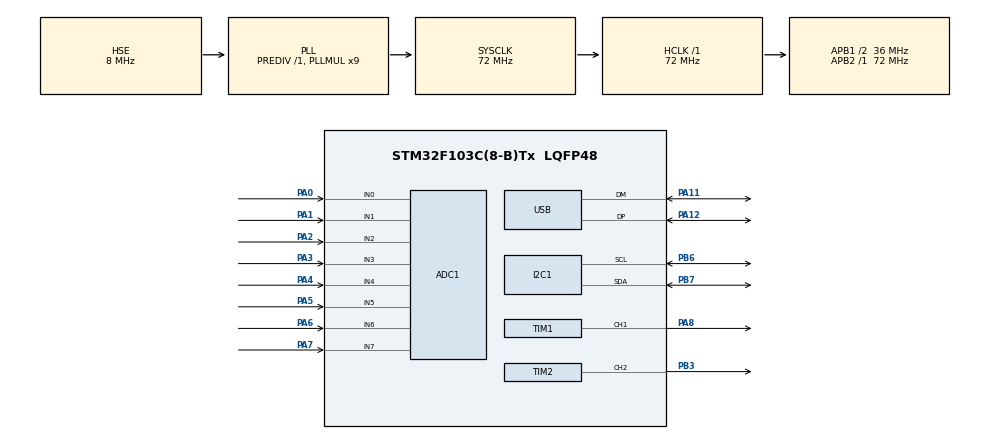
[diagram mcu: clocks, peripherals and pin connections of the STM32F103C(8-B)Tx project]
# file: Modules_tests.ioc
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ADC1.Channel-10\#ChannelRegularConversion=ADC_CHANNEL_0
ADC1.Channel-11\#ChannelRegularConversion=ADC_CHANNEL_0
ADC1.Channel-4\#ChannelRegularConversion=ADC_CHANNEL_0
ADC1.Channel-5\#ChannelRegularConversion=ADC_CHANNEL_0
ADC1.Channel-6\#ChannelRegularConversion=ADC_CHANNEL_0
ADC1.Channel-7\#ChannelRegularConversion=ADC_CHANNEL_0
ADC1.Channel-8\#ChannelRegularConversion=ADC_CHANNEL_0
ADC1.Channel-9\#ChannelRegularConversion=ADC_CHANNEL_0
ADC1.NbrOfConversion=8
ADC1.NbrOfConversionFlag=1
ADC1.Rank-10\#ChannelRegularConversion=7
ADC1.Rank-11\#ChannelRegularConversion=8
ADC1.Rank-4\#ChannelRegularConversion=1
ADC1.Rank-5\#ChannelRegularConversion=2
ADC1.Rank-6\#ChannelRegularConversion=3
ADC1.Rank-7\#ChannelRegularConversion=4
ADC1.Rank-8\#ChannelRegularConversion=5
ADC1.Rank-9\#ChannelRegularConversion=6
ADC1.SamplingTime-10\#ChannelRegularConversion=ADC_SAMPLETIME_1CYCLE_5
ADC1.SamplingTime-11\#ChannelRegularConversion=ADC_SAMPLETIME_1CYCLE_5
ADC1.SamplingTime-4\#ChannelRegularConversion=ADC_SAMPLETIME_1CYCLE_5
ADC1.SamplingTime-5\#ChannelRegularConversion=ADC_SAMPLETIME_1CYCLE_5
ADC1.SamplingTime-6\#ChannelRegularConversion=ADC_SAMPLETIME_1CYCLE_5
ADC1.SamplingTime-7\#ChannelRegularConversion=ADC_SAMPLETIME_1CYCLE_5
ADC1.SamplingTime-8\#ChannelRegularConversion=ADC_SAMPLETIME_1CYCLE_5
ADC1.SamplingTime-9\#ChannelRegularConversion=ADC_SAMPLETIME_1CYCLE_5
ADC1.master=1
Dma.ADC1.1.Direction=DMA_PERIPH_TO_MEMORY
Dma.ADC1.1.Instance=DMA1_Channel1
Dma.ADC1.1.MemDataAlignment=DMA_MDATAALIGN_HALFWORD
Dma.ADC1.1.MemInc=DMA_MINC_ENABLE
Dma.ADC1.1.Mode=DMA_NORMAL
Dma.ADC1.1.PeriphDataAlignment=DMA_PDATAALIGN_HALFWORD
Dma.ADC1.1.PeriphInc=DMA_PINC_DISABLE
Dma.ADC1.1.Priority=DMA_PRIORITY_LOW
Dma.I2C1_TX.0.Direction=DMA_MEMORY_TO_PERIPH
Dma.I2C1_TX.0.Instance=DMA1_Channel6
Dma.I2C1_TX.0.MemDataAlignment=DMA_MDATAALIGN_BYTE
Dma.I2C1_TX.0.MemInc=DMA_MINC_ENABLE
Dma.I2C1_TX.0.Mode=DMA_NORMAL
Dma.I2C1_TX.0.PeriphDataAlignment=DMA_PDATAALIGN_BYTE
Dma.I2C1_TX.0.PeriphInc=DMA_PINC_DISABLE
Dma.I2C1_TX.0.Priority=DMA_PRIORITY_LOW
Dma.Request0=I2C1_TX
Dma.Request1=ADC1
I2C1.I2C_Mode=I2C_Fast
I2C1.NoStretchMode=I2C_NOSTRETCH_DISABLE
Mcu.Family=STM32F1
Mcu.Name=STM32F103C(8-B)Tx
Mcu.Package=LQFP48
NVIC.DMA1_Channel1_IRQn=true\:0\:0\:false\:false\:true\:false\:true\:true
NVIC.DMA1_Channel6_IRQn=true\:0\:0\:false\:false\:true\:false\:true\:true
NVIC.I2C1_EV_IRQn=true\:0\:0\:false\:false\:true\:true\:true\:true
NVIC.PriorityGroup=NVIC_PRIORITYGROUP_4
NVIC.USB_LP_CAN1_RX0_IRQn=true\:0\:0\:false\:false\:true\:true\:true\:true
PA0-WKUP.Signal=ADCx_IN0
PA1.Signal=ADCx_IN1
PA11.Mode=Device
PA11.Signal=USB_DM
PA12.Mode=Device
PA12.Signal=USB_DP
PA2.Signal=ADCx_IN2
PA3.Signal=ADCx_IN3
PA4.Signal=ADCx_IN4
PA5.Signal=ADCx_IN5
PA6.Signal=ADCx_IN6
PA7.Signal=ADCx_IN7
PA8.Signal=S_TIM1_CH1
PB3.Signal=S_TIM2_CH2
PB6.Mode=I2C
PB6.Signal=I2C1_SCL
PB7.Mode=I2C
PB7.Signal=I2C1_SDA
PC14-OSC32_IN.Mode=LSE-External-Oscillator
PC14-OSC32_IN.Signal=RCC_OSC32_IN
PC15-OSC32_OUT.Mode=LSE-External-Oscillator
PC15-OSC32_OUT.Signal=RCC_OSC32_OUT
PD0-OSC_IN.Mode=HSE-External-Oscillator
PD0-OSC_IN.Signal=RCC_OSC_IN
PD1-OSC_OUT.Mode=HSE-External-Oscillator
PD1-OSC_OUT.Signal=RCC_OSC_OUT
ProjectManager.HeapSize=0x200
ProjectManager.StackSize=0x400
ProjectManager.TargetToolchain=STM32CubeIDE
RCC.ADCPresc=RCC_ADCPCLK2_DIV6
RCC.AHBFreq_Value=72000000
RCC.APB1CLKDivider=RCC_HCLK_DIV2
RCC.APB1Freq_Value=36000000
RCC.APB1TimFreq_Value=72000000
RCC.APB2Freq_Value=72000000
RCC.APB2TimFreq_Value=72000000
RCC.HCLKFreq_Value=72000000
RCC.PLLMUL=RCC_PLL_MUL9
RCC.SYSCLKFreq_VALUE=72000000
RCC.SYSCLKSource=RCC_SYSCLKSOURCE_PLLCLK
RCC.USBFreq_Value=48000000
RCC.USBPrescaler=RCC_USBCLKSOURCE_PLL_DIV1_5
SH.ADCx_IN0.0=ADC1_IN0,IN0
SH.ADCx_IN1.0=ADC1_IN1,IN1
SH.ADCx_IN2.0=ADC1_IN2,IN2
SH.ADCx_IN3.0=ADC1_IN3,IN3
SH.ADCx_IN4.0=ADC1_IN4,IN4
SH.ADCx_IN5.0=ADC1_IN5,IN5
SH.ADCx_IN6.0=ADC1_IN6,IN6
SH.ADCx_IN7.0=ADC1_IN7,IN7
SH.S_TIM1_CH1.0=TIM1_CH1,PWM Generation1 CH1
SH.S_TIM2_CH2.0=TIM2_CH2,PWM Generation2 CH2
TIM1.Channel-PWM\ Generation1\ CH1=TIM_CHANNEL_1
TIM1.Period=100-1
TIM1.Prescaler=72-1
TIM2.Channel-PWM\ Generation2\ CH2=TIM_CHANNEL_2
TIM2.Period=100-1
TIM2.Prescaler=72-1
USB_DEVICE.CLASS_NAME_FS=CDC
USB_DEVICE.VirtualMode=Cdc
USB_DEVICE.VirtualModeFS=Cdc_FS
VP_SYS_VS_ND.Mode=No_Debug
VP_TIM1_VS_ClockSourceINT.Mode=Internal
VP_TIM2_VS_ClockSourceINT.Mode=Internal
VP_USB_DEVICE_VS_USB_DEVICE_CDC_FS.Mode=CDC_FS
board=custom

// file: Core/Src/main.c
/* USER CODE BEGIN Header */
/**
  ******************************************************************************
  * @file           : main.c
  * @brief          : Main program body
  ******************************************************************************
  * @attention
  *
  * Copyright (c) 2025 STMicroelectronics.
  * All rights reserved.
  *
  * When I programmed this only god and I know what we were doing. Probably,
  * when you read it, Only god knows what this made
  *
  * This software is licensed under terms that can be found in the LICENSE file
  * in the root directory of this software component.
  * If no LICENSE file comes with this software, it is provided AS-IS.
  *
  ******************************************************************************
  */
/* USER CODE END Header */
#include "main.h"
#include "usb_device.h"

/* USER CODE BEGIN Includes */
#include <stdlib.h>
#include "comm_pro.h"
#include "mpu6050.h"
#include "usbd_cdc_if.h"
#include "oled.h"
#include "oled_fonts.h"
/* USER CODE END Includes */

ADC_HandleTypeDef hadc1;
DMA_HandleTypeDef hdma_adc1;

I2C_HandleTypeDef hi2c1;
DMA_HandleTypeDef hdma_i2c1_tx;

TIM_HandleTypeDef htim1;
TIM_HandleTypeDef htim2;

/* USER CODE BEGIN PV */
/*Protocol variables*/
uint8_t 					bufRx[SIZEBUFRX];
uint8_t 					bufTx[SIZEBUFTX];
_sRx 						rx;
_sTx 						tx;

/*Motors variables*/
int8_t						leftMotorSpeed;
int8_t						rightMotorSpeed;

/*I2C oled variables*/
extern volatile uint8_t 	ssd_update_done;
volatile uint8_t 			i2c1_tx_busy = 0;
uint32_t 					lastUpdateTick = 0;

/*Optical Sensors variables*/
#define 					NUM_SENSORES 8

uint16_t 					adc_valores[NUM_SENSORES];
volatile uint8_t 			sensores_listos = 0;

/* USER CODE END PV */

void SystemClock_Config(void);
static void MX_GPIO_Init(void);
static void MX_DMA_Init(void);
static void MX_I2C1_Init(void);
static void MX_TIM1_Init(void);
static void MX_TIM2_Init(void);
static void MX_ADC1_Init(void);
/* USER CODE BEGIN PFP */
void sendByteOverUSB(uint8_t *byte);

void Motor_Set(int motor, int8_t speed);

void Oled_Init();

void oled_hal_write(uint8_t addr, uint8_t ctrl, uint8_t* data, uint16_t len);

int oled_hal_write_single(uint8_t addr, uint8_t ctrl, uint8_t data);

void oled_hal_write_comm(uint8_t addr, uint8_t data);

int oled_hal_init_i2c(uint8_t address);

void MPU_hal_write(uint8_t address, uint8_t control, uint8_t data);
void MPU_hal_read();

/* USER CODE END PFP */

/* USER CODE BEGIN 0 */
#include "main.h"

void MPU_hal_write(uint8_t address, uint8_t control, uint8_t data){

	HAL_I2C_Mem_Write(&hi2c1, address, control, 1, &data, 1, HAL_MAX_DELAY);
}

void MPU_hal_read(){
	uint8_t received_data[6];

	 HAL_I2C_Mem_Read_DMA(&hi2c1, MPU6050_ADDR, ACCEL_XOUT_H_REG, 1, received_data, 6);
}

int oled_hal_init_i2c(uint8_t address){
	uint8_t ret = 1;

	if (HAL_I2C_IsDeviceReady(&hi2c1, address, 1, 2000) != HAL_OK) {
		ret = 0;
	}

	return ret;
}

void oled_hal_write(uint8_t addr, uint8_t ctrl, uint8_t* data, uint16_t len) {
	uint8_t buf[len + 1]; // buffer local m
    buf[0] = ctrl;
    memcpy(&buf[1], data, len);

    //HAL_I2C_Master_Transmit_DMA(&hi2c1, addr, buf, len + 1);
    HAL_I2C_Mem_Write_DMA(&hi2c1, addr, ctrl, I2C_MEMADD_SIZE_8BIT, data, len);

}

int oled_hal_write_single(uint8_t addr, uint8_t ctrl, uint8_t data) {
    uint8_t buf[2] = { ctrl, data };

    return (HAL_I2C_Master_Transmit(&hi2c1, addr, buf, 2, HAL_MAX_DELAY) == HAL_OK) ? 0 : -1;
}

void oled_hal_write_comm(uint8_t addr, uint8_t data){
    //uint8_t buf[2] = { 0x00, data };

    HAL_I2C_Mem_Write_DMA(&hi2c1, addr, 0x00, I2C_MEMADD_SIZE_8BIT, &data, 2);
    //HAL_I2C_Master_Transmit_DMA(&hi2c1, addr, buf, 2);
}

void UNER_AppHandler(_eCmd cmd, _uWork *data)
{
    switch (cmd) {
        case UIMOTORS:
            leftMotorSpeed = data->i8[0];
            rightMotorSpeed = data->i8[1];

            //ssd_update_done = 1;
            break;
        default:
            break;
    }
}

void Motor_Set(int motor, int8_t speed)
{
    // Saturar valor a -100..100
    if (speed > 100) speed = 100;
    if (speed < -100) speed = -100;

    switch (motor) {
        case 0: // Motor A → PWM: PA8 (TIM1_CH1), DIR: PA9
            HAL_GPIO_WritePin(GPIOA, GPIO_PIN_9, GPIO_PIN_RESET);
            __HAL_TIM_SET_COMPARE(&htim1, TIM_CHANNEL_1, speed);
            break;

        case 1: // Motor B → PWM: PA1 (TIM2_CH2), DIR: PA0
            HAL_GPIO_WritePin(GPIOA, GPIO_PIN_0, GPIO_PIN_RESET);
            __HAL_TIM_SET_COMPARE(&htim2, TIM_CHANNEL_2, speed);
            break;

        default:
            // Motor inválido, podés agregar error handling
            break;
    }
}

void Oled_Init(){
	if (!SSD1306_Init()) {
		while (1);
	}
}

void sendByteOverUSB(uint8_t *byte)
{
    // CDC_Transmit_FS envía un buffer, acá mandamos 1 byte
    while(CDC_Transmit_FS(byte, 1) == USBD_BUSY){
        // Esperar o hacer algo mientras el USB está ocupado
    }
}

/* USER CODE END 0 */

int main(void)
{

  /* MCU Configuration--------------------------------------------------------*/

  /* Reset of all peripherals, Initializes the Flash interface and the Systick. */
  HAL_Init();

  /* USER CODE BEGIN Init */
  OLED_IO_Interface_t oled_hal = {
      .Write = oled_hal_write,
      .WriteSingle = oled_hal_write_single,
	  .WriteComm = oled_hal_write_comm,
	  .Init_I2C = oled_hal_init_i2c
  };

  OLED_RegisterIO(&oled_hal);

  MPU_IO_Interface_t mpu_hal = {
      .WriteConfig = MPU_hal_write,
	  .Read = MPU_hal_read
  };

  MPU6050_RegisterIO(&mpu_hal);

  UNER_Init(&tx, bufTx, &rx, bufRx);

  UNER_SetTxFunction(sendByteOverUSB);

  CDC_Attach_RX_Funct(&UNER_OnRxByte);

  /* USER CODE END Init */

  /* Configure the system clock */
  SystemClock_Config();

  /* Initialize all configured peripherals */
  MX_GPIO_Init();
  MX_DMA_Init();
  MX_USB_DEVICE_Init();
  MX_I2C1_Init();
  MX_TIM1_Init();
  MX_TIM2_Init();
  MX_ADC1_Init();
  /* USER CODE BEGIN 2 */

  UNER_SetAppCallback(UNER_AppHandler);

  // Inicializacion PWM motores
  HAL_TIM_PWM_Start(&htim1, TIM_CHANNEL_1);
  HAL_TIM_PWM_Start(&htim2, TIM_CHANNEL_2);

  leftMotorSpeed = 0;
  rightMotorSpeed = 0;

  Motor_Set(0, 0);
  Motor_Set(1, 80);

  HAL_ADC_Start_DMA(&hadc1, (uint32_t*)adc_valores, NUM_SENSORES);

  Oled_Init();
  SSD1306_Clear();

  MPU6050_Init();
  /* USER CODE END 2 */

  /* Infinite loop */
  /* USER CODE BEGIN WHILE */
  while (1)
  {
	  UNER_SerialTask(&tx,&rx);

	  char texto[20];

	  //SSD1306_DrawCircle(20, 20, 20, SSD1306_COLOR_WHITE);
	  SSD1306_GotoXY(0, 0);
	  sprintf(texto, "LSPD: %4d", leftMotorSpeed);
	  SSD1306_Puts("   ", &Font_11x18, SSD1306_COLOR_WHITE); // limpiar línea
	  SSD1306_GotoXY(0, 0);
	  SSD1306_Puts(texto, &Font_11x18, SSD1306_COLOR_BLACK);

	  SSD1306_GotoXY(0, 25);
	  sprintf(texto, "RSPD: %4d", rightMotorSpeed);
	  SSD1306_Puts("   ", &Font_11x18, SSD1306_COLOR_WHITE); // limpiar línea
	  SSD1306_GotoXY(0, 25);
	  SSD1306_Puts(texto, &Font_11x18, SSD1306_COLOR_BLACK);

	  SSD1306_Task();
    /* USER CODE END WHILE */

  }
}

void SystemClock_Config(void)
{
  RCC_OscInitTypeDef RCC_OscInitStruct = {0};
  RCC_ClkInitTypeDef RCC_ClkInitStruct = {0};
  RCC_PeriphCLKInitTypeDef PeriphClkInit = {0};

  /** Initializes the RCC Oscillators according to the specified parameters
  * in the RCC_OscInitTypeDef structure.
  */
  RCC_OscInitStruct.OscillatorType = RCC_OSCILLATORTYPE_HSE;
  RCC_OscInitStruct.HSEState = RCC_HSE_ON;
  RCC_OscInitStruct.HSEPredivValue = RCC_HSE_PREDIV_DIV1;
  RCC_OscInitStruct.HSIState = RCC_HSI_ON;
  RCC_OscInitStruct.PLL.PLLState = RCC_PLL_ON;
  RCC_OscInitStruct.PLL.PLLSource = RCC_PLLSOURCE_HSE;
  RCC_OscInitStruct.PLL.PLLMUL = RCC_PLL_MUL9;
  if (HAL_RCC_OscConfig(&RCC_OscInitStruct) != HAL_OK)
  {
    Error_Handler();
  }

  /** Initializes the CPU, AHB and APB buses clocks
  */
  RCC_ClkInitStruct.ClockType = RCC_CLOCKTYPE_HCLK|RCC_CLOCKTYPE_SYSCLK
                              |RCC_CLOCKTYPE_PCLK1|RCC_CLOCKTYPE_PCLK2;
  RCC_ClkInitStruct.SYSCLKSource = RCC_SYSCLKSOURCE_PLLCLK;
  RCC_ClkInitStruct.AHBCLKDivider = RCC_SYSCLK_DIV1;
  RCC_ClkInitStruct.APB1CLKDivider = RCC_HCLK_DIV2;
  RCC_ClkInitStruct.APB2CLKDivider = RCC_HCLK_DIV1;

  if (HAL_RCC_ClockConfig(&RCC_ClkInitStruct, FLASH_LATENCY_2) != HAL_OK)
  {
    Error_Handler();
  }
  PeriphClkInit.PeriphClockSelection = RCC_PERIPHCLK_ADC|RCC_PERIPHCLK_USB;
  PeriphClkInit.AdcClockSelection = RCC_ADCPCLK2_DIV6;
  PeriphClkInit.UsbClockSelection = RCC_USBCLKSOURCE_PLL_DIV1_5;
  if (HAL_RCCEx_PeriphCLKConfig(&PeriphClkInit) != HAL_OK)
  {
    Error_Handler();
  }
}

static void MX_ADC1_Init(void)
{

  ADC_ChannelConfTypeDef sConfig = {0};

  /** Common config
  */
  hadc1.Instance = ADC1;
  hadc1.Init.ScanConvMode = ADC_SCAN_ENABLE;
  hadc1.Init.ContinuousConvMode = DISABLE;
  hadc1.Init.DiscontinuousConvMode = DISABLE;
  hadc1.Init.ExternalTrigConv = ADC_SOFTWARE_START;
  hadc1.Init.DataAlign = ADC_DATAALIGN_RIGHT;
  hadc1.Init.NbrOfConversion = 8;
  if (HAL_ADC_Init(&hadc1) != HAL_OK)
  {
    Error_Handler();
  }

  /** Configure Regular Channel
  */
  sConfig.Channel = ADC_CHANNEL_0;
  sConfig.Rank = ADC_REGULAR_RANK_1;
  sConfig.SamplingTime = ADC_SAMPLETIME_1CYCLE_5;
  if (HAL_ADC_ConfigChannel(&hadc1, &sConfig) != HAL_OK)
  {
    Error_Handler();
  }

  /** Configure Regular Channel
  */
  sConfig.Rank = ADC_REGULAR_RANK_2;
  if (HAL_ADC_ConfigChannel(&hadc1, &sConfig) != HAL_OK)
  {
    Error_Handler();
  }

  /** Configure Regular Channel
  */
  sConfig.Rank = ADC_REGULAR_RANK_3;
  if (HAL_ADC_ConfigChannel(&hadc1, &sConfig) != HAL_OK)
  {
    Error_Handler();
  }

  /** Configure Regular Channel
  */
  sConfig.Rank = ADC_REGULAR_RANK_4;
  if (HAL_ADC_ConfigChannel(&hadc1, &sConfig) != HAL_OK)
  {
    Error_Handler();
  }

  /** Configure Regular Channel
  */
  sConfig.Rank = ADC_REGULAR_RANK_5;
  if (HAL_ADC_ConfigChannel(&hadc1, &sConfig) != HAL_OK)
  {
    Error_Handler();
  }

  /** Configure Regular Channel
  */
  sConfig.Rank = ADC_REGULAR_RANK_6;
  if (HAL_ADC_ConfigChannel(&hadc1, &sConfig) != HAL_OK)
  {
    Error_Handler();
  }

  /** Configure Regular Channel
  */
  sConfig.Rank = ADC_REGULAR_RANK_7;
  if (HAL_ADC_ConfigChannel(&hadc1, &sConfig) != HAL_OK)
  {
    Error_Handler();
  }

  /** Configure Regular Channel
  */
  sConfig.Rank = ADC_REGULAR_RANK_8;
  if (HAL_ADC_ConfigChannel(&hadc1, &sConfig) != HAL_OK)
  {
    Error_Handler();
  }

}

static void MX_I2C1_Init(void)
{

  hi2c1.Instance = I2C1;
  hi2c1.Init.ClockSpeed = 400000;
  hi2c1.Init.DutyCycle = I2C_DUTYCYCLE_2;
  hi2c1.Init.OwnAddress1 = 0;
  hi2c1.Init.AddressingMode = I2C_ADDRESSINGMODE_7BIT;
  hi2c1.Init.DualAddressMode = I2C_DUALADDRESS_DISABLE;
  hi2c1.Init.OwnAddress2 = 0;
  hi2c1.Init.GeneralCallMode = I2C_GENERALCALL_DISABLE;
  hi2c1.Init.NoStretchMode = I2C_NOSTRETCH_DISABLE;
  if (HAL_I2C_Init(&hi2c1) != HAL_OK)
  {
    Error_Handler();
  }

}

static void MX_TIM1_Init(void)
{

  TIM_ClockConfigTypeDef sClockSourceConfig = {0};
  TIM_MasterConfigTypeDef sMasterConfig = {0};
  TIM_OC_InitTypeDef sConfigOC = {0};
  TIM_BreakDeadTimeConfigTypeDef sBreakDeadTimeConfig = {0};

  htim1.Instance = TIM1;
  htim1.Init.Prescaler = 72-1;
  htim1.Init.CounterMode = TIM_COUNTERMODE_UP;
  htim1.Init.Period = 100-1;
  htim1.Init.ClockDivision = TIM_CLOCKDIVISION_DIV1;
  htim1.Init.RepetitionCounter = 0;
  htim1.Init.AutoReloadPreload = TIM_AUTORELOAD_PRELOAD_DISABLE;
  if (HAL_TIM_Base_Init(&htim1) != HAL_OK)
  {
    Error_Handler();
  }
  sClockSourceConfig.ClockSource = TIM_CLOCKSOURCE_INTERNAL;
  if (HAL_TIM_ConfigClockSource(&htim1, &sClockSourceConfig) != HAL_OK)
  {
    Error_Handler();
  }
  if (HAL_TIM_PWM_Init(&htim1) != HAL_OK)
  {
    Error_Handler();
  }
  sMasterConfig.MasterOutputTrigger = TIM_TRGO_RESET;
  sMasterConfig.MasterSlaveMode = TIM_MASTERSLAVEMODE_DISABLE;
  if (HAL_TIMEx_MasterConfigSynchronization(&htim1, &sMasterConfig) != HAL_OK)
  {
    Error_Handler();
  }
  sConfigOC.OCMode = TIM_OCMODE_PWM1;
  sConfigOC.Pulse = 0;
  sConfigOC.OCPolarity = TIM_OCPOLARITY_HIGH;
  sConfigOC.OCNPolarity = TIM_OCNPOLARITY_HIGH;
  sConfigOC.OCFastMode = TIM_OCFAST_DISABLE;
  sConfigOC.OCIdleState = TIM_OCIDLESTATE_RESET;
  sConfigOC.OCNIdleState = TIM_OCNIDLESTATE_RESET;
  if (HAL_TIM_PWM_ConfigChannel(&htim1, &sConfigOC, TIM_CHANNEL_1) != HAL_OK)
  {
    Error_Handler();
  }
  sBreakDeadTimeConfig.OffStateRunMode = TIM_OSSR_DISABLE;
  sBreakDeadTimeConfig.OffStateIDLEMode = TIM_OSSI_DISABLE;
  sBreakDeadTimeConfig.LockLevel = TIM_LOCKLEVEL_OFF;
  sBreakDeadTimeConfig.DeadTime = 0;
  sBreakDeadTimeConfig.BreakState = TIM_BREAK_DISABLE;
  sBreakDeadTimeConfig.BreakPolarity = TIM_BREAKPOLARITY_HIGH;
  sBreakDeadTimeConfig.AutomaticOutput = TIM_AUTOMATICOUTPUT_DISABLE;
  if (HAL_TIMEx_ConfigBreakDeadTime(&htim1, &sBreakDeadTimeConfig) != HAL_OK)
  {
    Error_Handler();
  }
  HAL_TIM_MspPostInit(&htim1);

}

static void MX_TIM2_Init(void)
{

  TIM_ClockConfigTypeDef sClockSourceConfig = {0};
  TIM_MasterConfigTypeDef sMasterConfig = {0};
  TIM_OC_InitTypeDef sConfigOC = {0};

  htim2.Instance = TIM2;
  htim2.Init.Prescaler = 72-1;
  htim2.Init.CounterMode = TIM_COUNTERMODE_UP;
  htim2.Init.Period = 100-1;
  htim2.Init.ClockDivision = TIM_CLOCKDIVISION_DIV1;
  htim2.Init.AutoReloadPreload = TIM_AUTORELOAD_PRELOAD_DISABLE;
  if (HAL_TIM_Base_Init(&htim2) != HAL_OK)
  {
    Error_Handler();
  }
  sClockSourceConfig.ClockSource = TIM_CLOCKSOURCE_INTERNAL;
  if (HAL_TIM_ConfigClockSource(&htim2, &sClockSourceConfig) != HAL_OK)
  {
    Error_Handler();
  }
  if (HAL_TIM_PWM_Init(&htim2) != HAL_OK)
  {
    Error_Handler();
  }
  sMasterConfig.MasterOutputTrigger = TIM_TRGO_RESET;
  sMasterConfig.MasterSlaveMode = TIM_MASTERSLAVEMODE_DISABLE;
  if (HAL_TIMEx_MasterConfigSynchronization(&htim2, &sMasterConfig) != HAL_OK)
  {
    Error_Handler();
  }
  sConfigOC.OCMode = TIM_OCMODE_PWM1;
  sConfigOC.Pulse = 0;
  sConfigOC.OCPolarity = TIM_OCPOLARITY_HIGH;
  sConfigOC.OCFastMode = TIM_OCFAST_DISABLE;
  if (HAL_TIM_PWM_ConfigChannel(&htim2, &sConfigOC, TIM_CHANNEL_2) != HAL_OK)
  {
    Error_Handler();
  }
  HAL_TIM_MspPostInit(&htim2);

}

static void MX_DMA_Init(void)
{

  /* DMA controller clock enable */
  __HAL_RCC_DMA1_CLK_ENABLE();

  /* DMA interrupt init */
  /* DMA1_Channel1_IRQn interrupt configuration */
  HAL_NVIC_SetPriority(DMA1_Channel1_IRQn, 0, 0);
  HAL_NVIC_EnableIRQ(DMA1_Channel1_IRQn);
  /* DMA1_Channel6_IRQn interrupt configuration */
  HAL_NVIC_SetPriority(DMA1_Channel6_IRQn, 0, 0);
  HAL_NVIC_EnableIRQ(DMA1_Channel6_IRQn);

}

static void MX_GPIO_Init(void)
{

  /* GPIO Ports Clock Enable */
  __HAL_RCC_GPIOC_CLK_ENABLE();
  __HAL_RCC_GPIOD_CLK_ENABLE();
  __HAL_RCC_GPIOA_CLK_ENABLE();
  __HAL_RCC_GPIOB_CLK_ENABLE();

}

void Error_Handler(void)
{
  __disable_irq();
  while (1)
  {
  }
}
